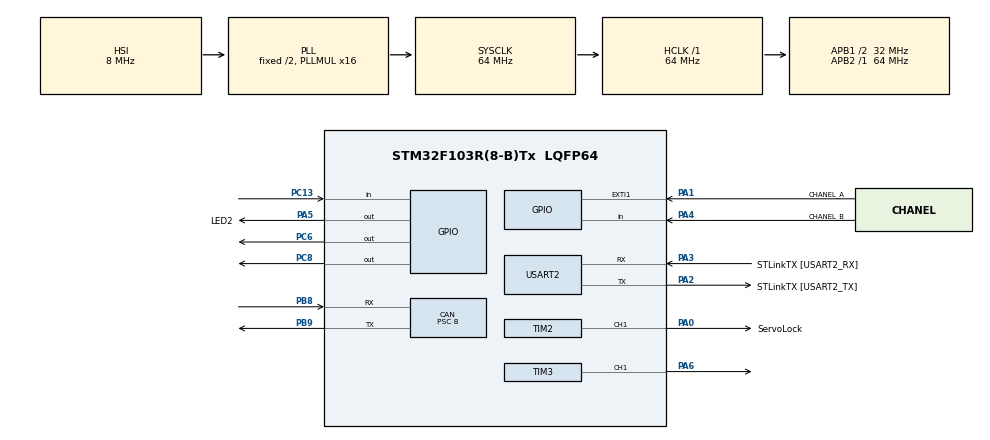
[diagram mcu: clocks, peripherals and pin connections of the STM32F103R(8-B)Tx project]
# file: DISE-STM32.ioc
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CAN.BS1=CAN_BS1_3TQ
CAN.BS2=CAN_BS2_4TQ
CAN.CalculateBaudRate=500000
CAN.CalculateTimeBit=2000
CAN.CalculateTimeQuantum=250.0
CAN.Prescaler=8
Mcu.Family=STM32F1
Mcu.Name=STM32F103R(8-B)Tx
Mcu.Package=LQFP64
NVIC.EXTI1_IRQn=true\:0\:0\:false\:false\:true\:true\:true\:true
NVIC.PriorityGroup=NVIC_PRIORITYGROUP_4
NVIC.TIM1_UP_IRQn=true\:0\:0\:false\:false\:true\:true\:true\:true
PA0-WKUP.GPIO_Label=ServoLock
PA0-WKUP.Signal=S_TIM2_CH1_ETR
PA1.GPIO_Label=CHANEL_A
PA1.GPIO_PuPd=GPIO_PULLUP
PA1.Signal=GPXTI1
PA13.Mode=Serial_Wire
PA13.Signal=SYS_JTMS-SWDIO
PA14.Mode=Serial_Wire
PA14.Signal=SYS_JTCK-SWCLK
PA2.GPIO_Label=STLinkTX [USART2_TX]
PA2.Mode=Asynchronous
PA2.Signal=USART2_TX
PA3.GPIO_Label=STLinkTX [USART2_RX]
PA3.Mode=Asynchronous
PA3.Signal=USART2_RX
PA4.GPIO_Label=CHANEL_B
PA4.GPIO_PuPd=GPIO_PULLUP
PA4.Signal=GPIO_Input
PA5.GPIO_Label=LED2
PA5.GPIO_PuPd=GPIO_PULLUP
PA5.Signal=GPIO_Output
PA6.Signal=S_TIM3_CH1
PB8.Mode=CAN_Activate
PB8.Signal=CAN_RX
PB9.Mode=CAN_Activate
PB9.Signal=CAN_TX
PC13-TAMPER-RTC.GPIO_PuPd=GPIO_PULLDOWN
PC13-TAMPER-RTC.Signal=GPIO_Input
PC6.Signal=GPIO_Output
PC8.Signal=GPIO_Output
PD0-OSC_IN.Mode=HSE-External-Oscillator
PD0-OSC_IN.Signal=RCC_OSC_IN
PD1-OSC_OUT.Mode=HSE-External-Oscillator
PD1-OSC_OUT.Signal=RCC_OSC_OUT
ProjectManager.HeapSize=0x200
ProjectManager.StackSize=0x400
ProjectManager.TargetToolchain=STM32CubeIDE
RCC.AHBFreq_Value=64000000
RCC.APB1CLKDivider=RCC_HCLK_DIV2
RCC.APB1Freq_Value=32000000
RCC.APB1TimFreq_Value=64000000
RCC.APB2Freq_Value=64000000
RCC.APB2TimFreq_Value=64000000
RCC.HCLKFreq_Value=64000000
RCC.PLLMUL=RCC_PLL_MUL16
RCC.SYSCLKFreq_VALUE=64000000
RCC.SYSCLKSource=RCC_SYSCLKSOURCE_PLLCLK
RCC.USBFreq_Value=64000000
SH.S_TIM2_CH1_ETR.0=TIM2_CH1,PWM Generation1 CH1
SH.S_TIM3_CH1.0=TIM3_CH1,PWM Generation1 CH1
TIM1.AutoReloadPreload=TIM_AUTORELOAD_PRELOAD_ENABLE
TIM1.Channel-Output\ Compare1\ No\ Output=TIM_CHANNEL_1
TIM1.Period=100-1
TIM1.Prescaler=64000-1
TIM2.Channel-PWM\ Generation1\ CH1=TIM_CHANNEL_1
TIM2.Period=6400-1
TIM2.Prescaler=200-1
TIM3.AutoReloadPreload=TIM_AUTORELOAD_PRELOAD_ENABLE
TIM3.Channel-PWM\ Generation1\ CH1=TIM_CHANNEL_1
TIM3.Period=9000-1
TIM3.Prescaler=550-1
USART2.VirtualMode=VM_ASYNC
VP_TIM1_VS_ClockSourceINT.Mode=Internal
VP_TIM1_VS_no_output1.Mode=Output Compare1 No Output
VP_TIM2_VS_ClockSourceINT.Mode=Internal
VP_TIM3_VS_ClockSourceINT.Mode=Internal
board=custom

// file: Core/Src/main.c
/* USER CODE BEGIN Header */
/**
  ******************************************************************************
  * @file           : main.c
  * @brief          : Main program body
  ******************************************************************************
  * @attention
  *
  * Copyright (c) 2025 STMicroelectronics.
  * All rights reserved.
  *
  * This software is licensed under terms that can be found in the LICENSE file
  * in the root directory of this software component.
  * If no LICENSE file comes with this software, it is provided AS-IS.
  *
  ******************************************************************************
  */
/* USER CODE END Header */
#include "main.h"

/* USER CODE BEGIN Includes */
#include <stdio.h>
#include <stdlib.h>
#include <time.h>
#include "myprintf.h"
/* USER CODE END Includes */

/* USER CODE BEGIN PD */
#define DEBUG_MODE 0 //Set as 0 for non-debug mode, 1 to debug and activate prints for CAN signals
/* USER CODE END PD */

CAN_HandleTypeDef hcan;

TIM_HandleTypeDef htim1;
TIM_HandleTypeDef htim2;
TIM_HandleTypeDef htim3;

UART_HandleTypeDef huart2;

/* USER CODE BEGIN PV */
CAN_TxHeaderTypeDef TxHeader;
CAN_RxHeaderTypeDef RxHeader;
uint8_t TxData[8] = {0x10, 0x34, 0x54, 0x76, 0x98, 0x00, 0x11, 0x22};
uint8_t RxData[1];
uint32_t txMailbox;
uint8_t lock_status;
CAN_FilterTypeDef sf;
int temp;
float RPMs;
uint8_t lock = 20;
uint8_t unlock = 110;
uint16_t encoder;
uint16_t pulsos;
float scalar;
/* USER CODE END PV */

void SystemClock_Config(void);
static void MX_GPIO_Init(void);
static void MX_USART2_UART_Init(void);
static void MX_CAN_Init(void);
static void MX_TIM2_Init(void);
static void MX_TIM1_Init(void);
static void MX_TIM3_Init(void);
/* USER CODE BEGIN PFP */
int randomRangeWithDiff(int min, int max, int min_diff);
void motor_set_speed(uint8_t duty_percent);
/* USER CODE END PFP */

/* USER CODE BEGIN 0 */
void set_servo(TIM_HandleTypeDef *htim, uint32_t channel, uint8_t angle){
	uint32_t pulse_length = 160 + (angle*(800 - 160)/180);
	__HAL_TIM_SET_COMPARE(htim, channel, pulse_length);
}

int randomRangeWithDiff(int min, int max, int min_diff)
{
    int last_value = -9999; // initial arbitrary number
    int new_value;

    do {
        new_value = (rand() % (max - min + 1)) + min;
    } while (abs(new_value - last_value) < min_diff);

    last_value = new_value;
    return new_value;
}

void motor_set_speed(uint8_t duty_percent)
{
    if (duty_percent > 100) duty_percent = 100;  // clamp to 100%
    uint32_t period = __HAL_TIM_GET_AUTORELOAD(&htim3);
    uint32_t compare = (period * duty_percent) / 100;
    __HAL_TIM_SET_COMPARE(&htim3, TIM_CHANNEL_1, compare);
}

/* USER CODE END 0 */

int main(void)
{

  /* MCU Configuration--------------------------------------------------------*/

  /* Reset of all peripherals, Initializes the Flash interface and the Systick. */
  HAL_Init();

  /* USER CODE BEGIN Init */
  RetargetInit(&huart2);
  srand(HAL_GetTick());  // change to seed value

  /* USER CODE END Init */

  /* Configure the system clock */
  SystemClock_Config();

  /* Initialize all configured peripherals */
  MX_GPIO_Init();
  MX_USART2_UART_Init();
  MX_CAN_Init();
  MX_TIM2_Init();
  MX_TIM1_Init();
  MX_TIM3_Init();
  /* USER CODE BEGIN 2 */
  HAL_TIM_Base_Start_IT(&htim1);
  HAL_TIM_PWM_Start(&htim2, TIM_CHANNEL_1);
  HAL_TIM_PWM_Start(&htim3, TIM_CHANNEL_1);
  HAL_GPIO_WritePin(GPIOC, GPIO_PIN_6, 0);
  HAL_GPIO_WritePin(GPIOC, GPIO_PIN_8, 1);
  /* USER CODE END 2 */

  /* Infinite loop */
  /* USER CODE BEGIN WHILE */
  printf("DISE Embedded Final Project\r\n");
  while (1)
  {
    /* USER CODE END WHILE */

    /* USER CODE BEGIN 3 */

	if (HAL_CAN_GetRxFifoFillLevel(&hcan, CAN_RX_FIFO0) > 0) {
	  	  // Get the CAN message
	  	if (HAL_CAN_GetRxMessage(&hcan, CAN_RX_FIFO0, &RxHeader, RxData) == HAL_OK) {
	  		// Process the received message
	  		lock_status = RxData[0];
	  		temp = randomRangeWithDiff(0, 80, 1);
	  		if (DEBUG_MODE == 1){
	  			printf("CAN ID: %lx\n\r", RxHeader.StdId);
	  			printf("CAN Size: %lx\n\r", RxHeader.DLC);
	  			printf("CAN Data: %d\n\r", RxData[0]);
	  			printf("RPMs: %d\n\r",(int)RPMs);
	  		}
	  		else {
	  			printf("\n%d,%d,%d", (int)RPMs, lock_status, temp);
	  		}
	  	}
	  	else{
	  		//RX DATA NOT WORKING
	  		printf("HAL NOT OK");
	  	}
	}
	if (lock_status == 1){
		HAL_GPIO_WritePin(LED2_GPIO_Port, LED2_Pin, 0);
		set_servo(&htim2, TIM_CHANNEL_1, lock);
	}
	else{
		HAL_GPIO_WritePin(LED2_GPIO_Port, LED2_Pin, 1);
		set_servo(&htim2, TIM_CHANNEL_1, unlock);
		if (HAL_GPIO_ReadPin(GPIOC, GPIO_PIN_13) == GPIO_PIN_RESET) {
			// Button is pressed
			motor_set_speed(80);  // 60% duty cycle
		}
		else {
			motor_set_speed(0);
		}
	}

	HAL_Delay(10);
  }
  /* USER CODE END 3 */
}

void SystemClock_Config(void)
{
  RCC_OscInitTypeDef RCC_OscInitStruct = {0};
  RCC_ClkInitTypeDef RCC_ClkInitStruct = {0};

  /** Initializes the RCC Oscillators according to the specified parameters
  * in the RCC_OscInitTypeDef structure.
  */
  RCC_OscInitStruct.OscillatorType = RCC_OSCILLATORTYPE_HSI;
  RCC_OscInitStruct.HSIState = RCC_HSI_ON;
  RCC_OscInitStruct.HSICalibrationValue = RCC_HSICALIBRATION_DEFAULT;
  RCC_OscInitStruct.PLL.PLLState = RCC_PLL_ON;
  RCC_OscInitStruct.PLL.PLLSource = RCC_PLLSOURCE_HSI_DIV2;
  RCC_OscInitStruct.PLL.PLLMUL = RCC_PLL_MUL16;
  if (HAL_RCC_OscConfig(&RCC_OscInitStruct) != HAL_OK)
  {
    Error_Handler();
  }

  /** Initializes the CPU, AHB and APB buses clocks
  */
  RCC_ClkInitStruct.ClockType = RCC_CLOCKTYPE_HCLK|RCC_CLOCKTYPE_SYSCLK
                              |RCC_CLOCKTYPE_PCLK1|RCC_CLOCKTYPE_PCLK2;
  RCC_ClkInitStruct.SYSCLKSource = RCC_SYSCLKSOURCE_PLLCLK;
  RCC_ClkInitStruct.AHBCLKDivider = RCC_SYSCLK_DIV1;
  RCC_ClkInitStruct.APB1CLKDivider = RCC_HCLK_DIV2;
  RCC_ClkInitStruct.APB2CLKDivider = RCC_HCLK_DIV1;

  if (HAL_RCC_ClockConfig(&RCC_ClkInitStruct, FLASH_LATENCY_2) != HAL_OK)
  {
    Error_Handler();
  }
}

static void MX_CAN_Init(void)
{

  hcan.Instance = CAN1;
  hcan.Init.Prescaler = 8;
  hcan.Init.Mode = CAN_MODE_NORMAL;
  hcan.Init.SyncJumpWidth = CAN_SJW_1TQ;
  hcan.Init.TimeSeg1 = CAN_BS1_3TQ;
  hcan.Init.TimeSeg2 = CAN_BS2_4TQ;
  hcan.Init.TimeTriggeredMode = DISABLE;
  hcan.Init.AutoBusOff = DISABLE;
  hcan.Init.AutoWakeUp = DISABLE;
  hcan.Init.AutoRetransmission = DISABLE;
  hcan.Init.ReceiveFifoLocked = DISABLE;
  hcan.Init.TransmitFifoPriority = DISABLE;
  if (HAL_CAN_Init(&hcan) != HAL_OK)
  {
    Error_Handler();
  }
  /* USER CODE BEGIN CAN_Init 2 */
  if (HAL_CAN_Start(&hcan) != HAL_OK) {
	  Error_Handler();
	  	  }
	  	  sf.FilterBank = 0;
	  	  sf.FilterMode = CAN_FILTERMODE_IDMASK;
	  	  sf.FilterFIFOAssignment = CAN_FILTER_FIFO0;
	  	  sf.FilterIdHigh = 0x0000;
	  	  sf.FilterIdLow = 0x0000;
	  	  sf.FilterMaskIdHigh = 0x0000;
	  	  sf.FilterMaskIdLow = 0x0000;
	  	  sf.FilterScale = CAN_FILTERSCALE_32BIT;
	  	  sf.FilterActivation = CAN_FILTER_ENABLE;
	  	  sf.SlaveStartFilterBank = 15;

	  	  if (HAL_CAN_ConfigFilter(&hcan, &sf) != HAL_OK) {
	  		  Error_Handler();
	  	   }
	  	   TxHeader.DLC = 1;
	  	   TxHeader.IDE = CAN_ID_STD;
	  	   TxHeader.RTR = CAN_RTR_DATA;
	  	   TxHeader.StdId = 0x030;
	  	   TxHeader.ExtId = 0x00;
	  	   TxHeader.TransmitGlobalTime = DISABLE;
  /* USER CODE END CAN_Init 2 */

}

static void MX_TIM1_Init(void)
{

  TIM_ClockConfigTypeDef sClockSourceConfig = {0};
  TIM_MasterConfigTypeDef sMasterConfig = {0};
  TIM_OC_InitTypeDef sConfigOC = {0};
  TIM_BreakDeadTimeConfigTypeDef sBreakDeadTimeConfig = {0};

  htim1.Instance = TIM1;
  htim1.Init.Prescaler = 64000-1;
  htim1.Init.CounterMode = TIM_COUNTERMODE_UP;
  htim1.Init.Period = 100-1;
  htim1.Init.ClockDivision = TIM_CLOCKDIVISION_DIV1;
  htim1.Init.RepetitionCounter = 0;
  htim1.Init.AutoReloadPreload = TIM_AUTORELOAD_PRELOAD_ENABLE;
  if (HAL_TIM_Base_Init(&htim1) != HAL_OK)
  {
    Error_Handler();
  }
  sClockSourceConfig.ClockSource = TIM_CLOCKSOURCE_INTERNAL;
  if (HAL_TIM_ConfigClockSource(&htim1, &sClockSourceConfig) != HAL_OK)
  {
    Error_Handler();
  }
  if (HAL_TIM_OC_Init(&htim1) != HAL_OK)
  {
    Error_Handler();
  }
  sMasterConfig.MasterOutputTrigger = TIM_TRGO_RESET;
  sMasterConfig.MasterSlaveMode = TIM_MASTERSLAVEMODE_DISABLE;
  if (HAL_TIMEx_MasterConfigSynchronization(&htim1, &sMasterConfig) != HAL_OK)
  {
    Error_Handler();
  }
  sConfigOC.OCMode = TIM_OCMODE_TIMING;
  sConfigOC.Pulse = 0;
  sConfigOC.OCPolarity = TIM_OCPOLARITY_HIGH;
  sConfigOC.OCNPolarity = TIM_OCNPOLARITY_HIGH;
  sConfigOC.OCFastMode = TIM_OCFAST_DISABLE;
  sConfigOC.OCIdleState = TIM_OCIDLESTATE_RESET;
  sConfigOC.OCNIdleState = TIM_OCNIDLESTATE_RESET;
  if (HAL_TIM_OC_ConfigChannel(&htim1, &sConfigOC, TIM_CHANNEL_1) != HAL_OK)
  {
    Error_Handler();
  }
  sBreakDeadTimeConfig.OffStateRunMode = TIM_OSSR_DISABLE;
  sBreakDeadTimeConfig.OffStateIDLEMode = TIM_OSSI_DISABLE;
  sBreakDeadTimeConfig.LockLevel = TIM_LOCKLEVEL_OFF;
  sBreakDeadTimeConfig.DeadTime = 0;
  sBreakDeadTimeConfig.BreakState = TIM_BREAK_DISABLE;
  sBreakDeadTimeConfig.BreakPolarity = TIM_BREAKPOLARITY_HIGH;
  sBreakDeadTimeConfig.AutomaticOutput = TIM_AUTOMATICOUTPUT_DISABLE;
  if (HAL_TIMEx_ConfigBreakDeadTime(&htim1, &sBreakDeadTimeConfig) != HAL_OK)
  {
    Error_Handler();
  }

}

static void MX_TIM2_Init(void)
{

  TIM_ClockConfigTypeDef sClockSourceConfig = {0};
  TIM_MasterConfigTypeDef sMasterConfig = {0};
  TIM_OC_InitTypeDef sConfigOC = {0};

  htim2.Instance = TIM2;
  htim2.Init.Prescaler = 200-1;
  htim2.Init.CounterMode = TIM_COUNTERMODE_UP;
  htim2.Init.Period = 6400-1;
  htim2.Init.ClockDivision = TIM_CLOCKDIVISION_DIV1;
  htim2.Init.AutoReloadPreload = TIM_AUTORELOAD_PRELOAD_DISABLE;
  if (HAL_TIM_Base_Init(&htim2) != HAL_OK)
  {
    Error_Handler();
  }
  sClockSourceConfig.ClockSource = TIM_CLOCKSOURCE_INTERNAL;
  if (HAL_TIM_ConfigClockSource(&htim2, &sClockSourceConfig) != HAL_OK)
  {
    Error_Handler();
  }
  if (HAL_TIM_PWM_Init(&htim2) != HAL_OK)
  {
    Error_Handler();
  }
  sMasterConfig.MasterOutputTrigger = TIM_TRGO_RESET;
  sMasterConfig.MasterSlaveMode = TIM_MASTERSLAVEMODE_DISABLE;
  if (HAL_TIMEx_MasterConfigSynchronization(&htim2, &sMasterConfig) != HAL_OK)
  {
    Error_Handler();
  }
  sConfigOC.OCMode = TIM_OCMODE_PWM1;
  sConfigOC.Pulse = 0;
  sConfigOC.OCPolarity = TIM_OCPOLARITY_HIGH;
  sConfigOC.OCFastMode = TIM_OCFAST_DISABLE;
  if (HAL_TIM_PWM_ConfigChannel(&htim2, &sConfigOC, TIM_CHANNEL_1) != HAL_OK)
  {
    Error_Handler();
  }
  HAL_TIM_MspPostInit(&htim2);

}

static void MX_TIM3_Init(void)
{

  TIM_ClockConfigTypeDef sClockSourceConfig = {0};
  TIM_MasterConfigTypeDef sMasterConfig = {0};
  TIM_OC_InitTypeDef sConfigOC = {0};

  htim3.Instance = TIM3;
  htim3.Init.Prescaler = 550-1;
  htim3.Init.CounterMode = TIM_COUNTERMODE_UP;
  htim3.Init.Period = 9000-1;
  htim3.Init.ClockDivision = TIM_CLOCKDIVISION_DIV1;
  htim3.Init.AutoReloadPreload = TIM_AUTORELOAD_PRELOAD_ENABLE;
  if (HAL_TIM_Base_Init(&htim3) != HAL_OK)
  {
    Error_Handler();
  }
  sClockSourceConfig.ClockSource = TIM_CLOCKSOURCE_INTERNAL;
  if (HAL_TIM_ConfigClockSource(&htim3, &sClockSourceConfig) != HAL_OK)
  {
    Error_Handler();
  }
  if (HAL_TIM_PWM_Init(&htim3) != HAL_OK)
  {
    Error_Handler();
  }
  sMasterConfig.MasterOutputTrigger = TIM_TRGO_RESET;
  sMasterConfig.MasterSlaveMode = TIM_MASTERSLAVEMODE_DISABLE;
  if (HAL_TIMEx_MasterConfigSynchronization(&htim3, &sMasterConfig) != HAL_OK)
  {
    Error_Handler();
  }
  sConfigOC.OCMode = TIM_OCMODE_PWM1;
  sConfigOC.Pulse = 0;
  sConfigOC.OCPolarity = TIM_OCPOLARITY_HIGH;
  sConfigOC.OCFastMode = TIM_OCFAST_DISABLE;
  if (HAL_TIM_PWM_ConfigChannel(&htim3, &sConfigOC, TIM_CHANNEL_1) != HAL_OK)
  {
    Error_Handler();
  }
  HAL_TIM_MspPostInit(&htim3);

}

static void MX_USART2_UART_Init(void)
{

  huart2.Instance = USART2;
  huart2.Init.BaudRate = 115200;
  huart2.Init.WordLength = UART_WORDLENGTH_8B;
  huart2.Init.StopBits = UART_STOPBITS_1;
  huart2.Init.Parity = UART_PARITY_NONE;
  huart2.Init.Mode = UART_MODE_TX_RX;
  huart2.Init.HwFlowCtl = UART_HWCONTROL_NONE;
  huart2.Init.OverSampling = UART_OVERSAMPLING_16;
  if (HAL_UART_Init(&huart2) != HAL_OK)
  {
    Error_Handler();
  }

}

static void MX_GPIO_Init(void)
{
  GPIO_InitTypeDef GPIO_InitStruct = {0};

  /* GPIO Ports Clock Enable */
  __HAL_RCC_GPIOC_CLK_ENABLE();
  __HAL_RCC_GPIOD_CLK_ENABLE();
  __HAL_RCC_GPIOA_CLK_ENABLE();
  __HAL_RCC_GPIOB_CLK_ENABLE();

  /*Configure GPIO pin Output Level */
  HAL_GPIO_WritePin(LED2_GPIO_Port, LED2_Pin, GPIO_PIN_RESET);

  /*Configure GPIO pin Output Level */
  HAL_GPIO_WritePin(GPIOC, GPIO_PIN_6|GPIO_PIN_8, GPIO_PIN_RESET);

  /*Configure GPIO pin : PC13 */
  GPIO_InitStruct.Pin = GPIO_PIN_13;
  GPIO_InitStruct.Mode = GPIO_MODE_INPUT;
  GPIO_InitStruct.Pull = GPIO_PULLDOWN;
  HAL_GPIO_Init(GPIOC, &GPIO_InitStruct);

  /*Configure GPIO pin : CHANEL_A_Pin */
  GPIO_InitStruct.Pin = CHANEL_A_Pin;
  GPIO_InitStruct.Mode = GPIO_MODE_IT_RISING;
  GPIO_InitStruct.Pull = GPIO_PULLUP;
  HAL_GPIO_Init(CHANEL_A_GPIO_Port, &GPIO_InitStruct);

  /*Configure GPIO pin : CHANEL_B_Pin */
  GPIO_InitStruct.Pin = CHANEL_B_Pin;
  GPIO_InitStruct.Mode = GPIO_MODE_INPUT;
  GPIO_InitStruct.Pull = GPIO_PULLUP;
  HAL_GPIO_Init(CHANEL_B_GPIO_Port, &GPIO_InitStruct);

  /*Configure GPIO pin : LED2_Pin */
  GPIO_InitStruct.Pin = LED2_Pin;
  GPIO_InitStruct.Mode = GPIO_MODE_OUTPUT_PP;
  GPIO_InitStruct.Pull = GPIO_PULLUP;
  GPIO_InitStruct.Speed = GPIO_SPEED_FREQ_LOW;
  HAL_GPIO_Init(LED2_GPIO_Port, &GPIO_InitStruct);

  /*Configure GPIO pins : PC6 PC8 */
  GPIO_InitStruct.Pin = GPIO_PIN_6|GPIO_PIN_8;
  GPIO_InitStruct.Mode = GPIO_MODE_OUTPUT_PP;
  GPIO_InitStruct.Pull = GPIO_NOPULL;
  GPIO_InitStruct.Speed = GPIO_SPEED_FREQ_LOW;
  HAL_GPIO_Init(GPIOC, &GPIO_InitStruct);

  /* EXTI interrupt init*/
  HAL_NVIC_SetPriority(EXTI1_IRQn, 0, 0);
  HAL_NVIC_EnableIRQ(EXTI1_IRQn);

}

/* USER CODE BEGIN 4 */
void HAL_GPIO_EXTI_Callback(uint16_t GPIO_Pin)
{
	UNUSED(GPIO_Pin); /*No se usa el canal*/
	if (HAL_GPIO_ReadPin(CHANEL_B_GPIO_Port, CHANEL_B_Pin)== GPIO_PIN_SET){
		encoder+=1.0;
		pulsos+=1.0;
	}
}

void HAL_TIM_PeriodElapsedCallback(TIM_HandleTypeDef *htim){
	if (htim->Instance == TIM1)
	{
		RPMs = ((encoder/11.0))*(600.0/34.0);
		encoder = 0.0;
	}
}
/* USER CODE END 4 */

void Error_Handler(void)
{
  __disable_irq();
  while (1)
  {
  }
}
